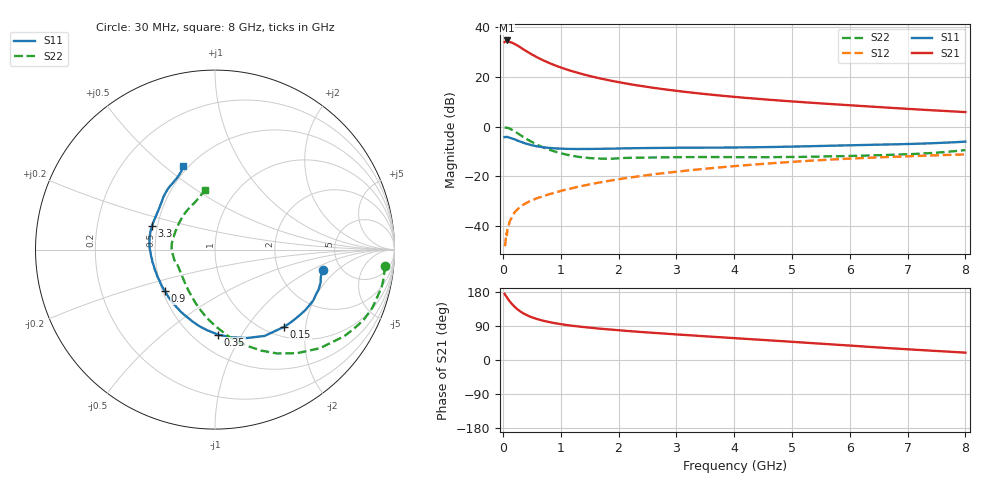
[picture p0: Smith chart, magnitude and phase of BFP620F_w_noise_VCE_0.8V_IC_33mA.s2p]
! Infineon Technologies  Discrete & RF Semiconductors
! BFP620F
! VCE =  0.8 V,  IC =  33 mA
! Common Emitter S-Parameters:  Dec 2014
# GHz  S  MA  R  50
!  f  S11  S21  S12  S22
! GHz  MAG  ANG  MAG  ANG  MAG  ANG  MAG  ANG
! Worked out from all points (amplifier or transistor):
!   95 points, 30 MHz to 8 GHz, reference 50 ohm
!   highest |S21| = 34.7 dB at 70 MHz (marker M1)
!   |S21| within 3 dB of that: start of sweep to 317.2 MHz
!   unconditionally stable (mu >= 1): 2.298 GHz to end of sweep
!   at 300 MHz: K = 0.40, MSG = 32.1 dB, |S12| = -32.4 dB
!   at 3.3 GHz: K = 1.02, MAG = 14.5 dB, |S12| = -17.5 dB
!   at 8 GHz: K = 1.06, MAG = 7.0 dB, |S12| = -11.2 dB
!   lowest NFmin = 1.20 dB at 450 MHz
!   S11 on the Smith chart (normalised r, x): 30 MHz: 3.63, -1.31; 150 MHz: 1.18, -1.53; 350 MHz: 0.65, -0.80; 900 MHz: 0.51, -0.28; 3.3 GHz: 0.47, +0.14; 8 GHz: 0.47, +0.58
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0.03  0.6104 -10.7  50.04 174.4  0.0039 89.2  0.9517 -5.6
0.05  0.6164 -17.3  52.79 169.9  0.0055 90.1  0.9531 -10.5
0.07  0.6157 -23.6  54.02 165.1  0.0065 83.9  0.9438 -15.4
0.09  0.6108 -30.4  52.94 160.5  0.0094 82.9  0.9343 -20.4
0.12  0.5924 -40.0  50.04 154.5  0.0124 77.0  0.904 -27.3
0.15  0.5773 -48.2  49.22 149.0  0.0145 72.2  0.867 -33.8
0.2  0.5546 -60.2  46.09 140.8  0.0185 68.5  0.8018 -43.3
0.25  0.523 -70.4  42.88 134.0  0.0214 66.0  0.7362 -51.6
0.3  0.4974 -79.3  39.47 128.3  0.0241 63.6  0.6753 -59.0
0.35  0.4741 -88.0  36.01 123.5  0.0265 61.9  0.6196 -65.3
0.45  0.4362 -101.3  30.63 115.9  0.0307 60.5  0.5281 -76.3
0.6  0.3971 -117.9  24.45 107.7  0.0363 60.1  0.4268 -89.6
0.7  0.3814 -126.5  21.43 103.5  0.0397 59.7  0.3804 -97.4
0.9  0.3626 -140.1  17.06 97.2  0.0466 60.0  0.3134 -110.8
1.4  0.3537 -162.3  11.16 86.9  0.0648 60.7  0.2378 -139.2
1.9  0.3587 -176.2  8.239 79.8  0.0833 60.0  0.2263 -160.3
2.7  0.371 168.6  5.809 70.7  0.1123 56.6  0.2385 -176.6
3.3  0.3752 159.8  4.766 64.6  0.134 53.3  0.2424 175.5
4.1  0.3794 149.5  3.864 56.7  0.1629 48.4  0.2413 165.6
5.4  0.4036 136.6  2.975 44.0  0.2076 38.9  0.2474 145.5
6.7  0.4361 123.9  2.383 31.1  0.2442 28.6  0.2691 124.3
8  0.4958 110.9  1.951 19.4  0.2743 18.6  0.3348 99.9
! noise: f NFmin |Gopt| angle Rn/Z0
0.45  1.2  0.08  -172  0.17
0.9  1.23  0.09  -171  0.13
1.5  1.24  0.14  -149  0.13
1.8  1.25  0.14  -148  0.14
1.9  1.26  0.15  -148  0.14
2.4  1.28  0.15  215  0.16
3.5  1.34  0.16  -140  0.18
5.5  1.49  0.23  243  0.14
6  1.53  0.24  260  0.17
